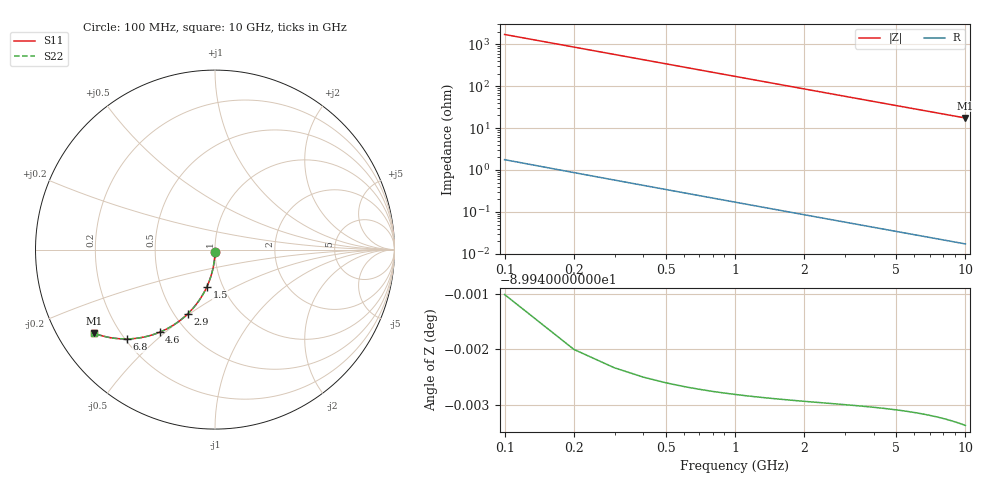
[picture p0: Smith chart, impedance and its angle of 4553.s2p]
# Hz S RI R 50.00
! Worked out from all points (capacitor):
!   100 points, 100 MHz to 10 GHz, reference 50 ohm
!   read as one part in shunt: C = 930 fF near 100 MHz
!   lowest |Z| = 17.4 ohm at 10 GHz (marker M1)
!   S11 on the Smith chart (normalised r, x): 100 MHz: 1.00, -0.03; 1.5 GHz: 0.84, -0.37; 2.9 GHz: 0.58, -0.49; 4.6 GHz: 0.36, -0.48; 6.8 GHz: 0.21, -0.40; 10 GHz: 0.11, -0.31
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1e8  -0.000222 -0.0146  0.9998 -0.0146  0.9998 -0.0146  -0.000222 -0.0146
2e8  -0.000877 -0.0291  0.9991 -0.0292  0.9991 -0.0292  -0.000877 -0.0291
3e8  -0.00196 -0.0437  0.998 -0.0438  0.998 -0.0438  -0.00196 -0.0437
4e8  -0.00346 -0.0581  0.9965 -0.0583  0.9965 -0.0583  -0.00346 -0.0581
5e8  -0.00537 -0.0725  0.9946 -0.0728  0.9946 -0.0728  -0.00537 -0.0725
6e8  -0.0077 -0.0868  0.9923 -0.0871  0.9923 -0.0871  -0.0077 -0.0868
7e8  -0.0104 -0.101  0.9896 -0.1013  0.9896 -0.1013  -0.0104 -0.101
9e8  -0.0171 -0.1289  0.9829 -0.1294  0.9829 -0.1294  -0.0171 -0.1289
1.2e9  -0.0299 -0.1696  0.9701 -0.1702  0.9701 -0.1702  -0.0299 -0.1696
1.5e9  -0.0459 -0.2084  0.9541 -0.2091  0.9541 -0.2091  -0.0459 -0.2084
1.8e9  -0.0647 -0.245  0.9353 -0.2459  0.9353 -0.2459  -0.0647 -0.245
2.3e9  -0.1012 -0.3005  0.8988 -0.3017  0.8988 -0.3017  -0.1012 -0.3005
2.9e9  -0.1515 -0.3573  0.8485 -0.3587  0.8485 -0.3587  -0.1515 -0.3573
3.4e9  -0.1967 -0.3962  0.8033 -0.3978  0.8033 -0.3978  -0.1967 -0.3962
4e9  -0.2526 -0.4331  0.7473 -0.435  0.7473 -0.435  -0.2526 -0.4331
4.6e9  -0.3085 -0.4602  0.6915 -0.4625  0.6915 -0.4625  -0.3085 -0.4602
5.1e9  -0.3537 -0.4764  0.6463 -0.4789  0.6463 -0.4789  -0.3537 -0.4764
5.9e9  -0.4222 -0.492  0.5778 -0.4949  0.5778 -0.4949  -0.4222 -0.492
6.7e9  -0.4845 -0.4976  0.5155 -0.5009  0.5155 -0.5009  -0.4845 -0.4976
6.8e9  -0.4918 -0.4978  0.5082 -0.5011  0.5082 -0.5011  -0.4918 -0.4978
8.4e9  -0.5953 -0.4882  0.4047 -0.4924  0.4047 -0.4924  -0.5953 -0.4882
1e10  -0.6751 -0.4653  0.3249 -0.4703  0.3249 -0.4703  -0.6751 -0.4653
